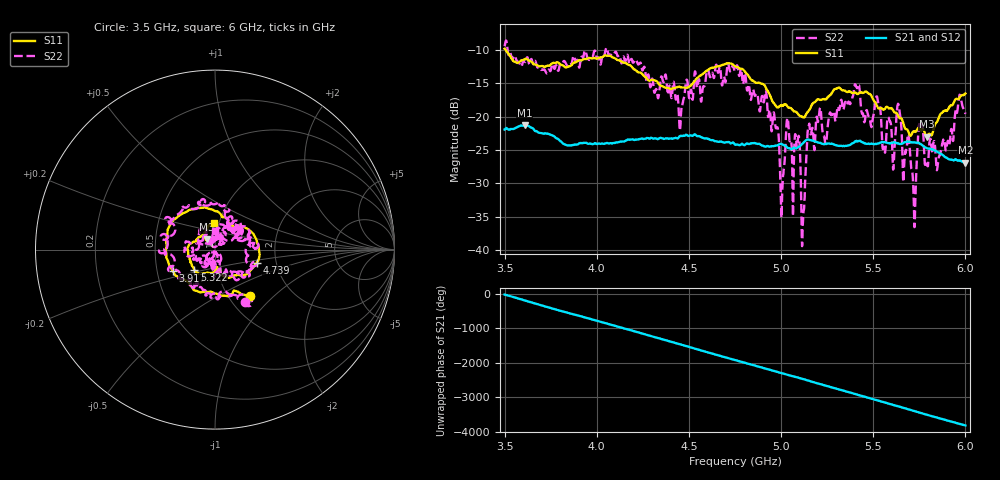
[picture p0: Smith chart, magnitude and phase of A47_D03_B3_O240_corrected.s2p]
! Created with skrf 1.9.0 (http://scikit-rf.org).
# Hz S RI R 50.0
!freq ReS11 ImS11 ReS21 ImS21 ReS12 ImS12 ReS22 ImS22
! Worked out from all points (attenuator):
!   1601 points, 3.5 GHz to 6 GHz, reference 50 ohm
!   highest |S21| = -21.32 dB at 3.609 GHz (marker M1); lowest = -26.9 dB at 6 GHz (marker M2)
!   lowest |S11| = -23.0 dB at 5.791 GHz (marker M3), VSWR 1.15, Z = 45.6 + j5.16 ohm
!   |S11| at or under -10 dB: 3.505 GHz to end of sweep
!   |S22| runs from -39.4 to -8.6 dB; largest |S21 - S12| = 0.00094
!   S11 on the Smith chart (normalised r, x): 3.5 GHz: 1.25, -0.72; 3.917 GHz: 0.60, -0.15; 4.739 GHz: 1.59, -0.24; 5.322 GHz: 0.78, -0.18; 6 GHz: 0.95, +0.29
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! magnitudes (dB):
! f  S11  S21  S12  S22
! 3.5 GHz  -9.9  -21.9  -21.9  -9.5
! 3.609 GHz  -11.4  -21.3  -21.3  -11.8
! 3.917 GHz  -11.6  -24.0  -24.0  -11.1
! 4.334 GHz  -15.0  -23.3  -23.3  -17.1
! 4.455 GHz  -15.6  -22.9  -22.9  -21.0
! 4.739 GHz  -12.2  -23.9  -23.9  -12.3
! 4.75 GHz  -12.5  -24.2  -24.1  -13.2
! 4.969 GHz  -18.3  -24.4  -24.3  -21.3
! 5.005 GHz  -18.3  -24.1  -24.1  -32.7
! 5.034 GHz  -18.5  -24.7  -24.6  -20.2
! 5.088 GHz  -19.4  -24.7  -24.6  -24.5
! 5.119 GHz  -20.1  -24.0  -23.9  -35.7
! 5.145 GHz  -19.3  -23.4  -23.4  -22.0
! 5.167 GHz  -18.2  -23.6  -23.5  -21.9
! 5.322 GHz  -15.8  -24.4  -24.3  -18.1
! 5.584 GHz  -18.8  -24.0  -23.9  -20.2
! 5.611 GHz  -19.2  -23.8  -23.8  -27.3
! 5.641 GHz  -20.2  -24.1  -24.0  -18.7
! 5.72 GHz  -22.2  -23.9  -23.8  -33.0
! 5.756 GHz  -22.0  -24.1  -24.0  -21.1
! 5.791 GHz  -23.0  -24.7  -24.7  -26.9
! 6 GHz  -16.6  -26.9  -26.8  -19.6
